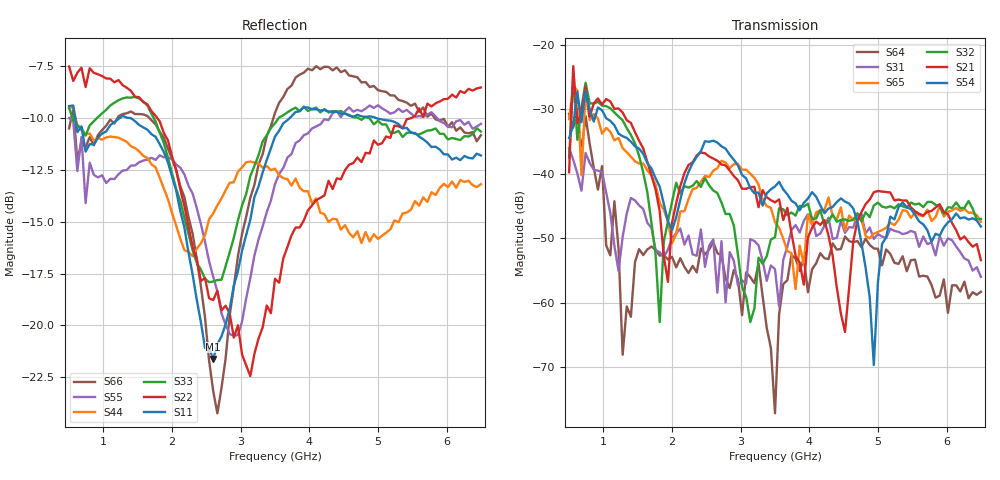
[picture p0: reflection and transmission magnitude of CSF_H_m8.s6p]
!Keysight Technologies,M9804A,MY58100912,A.14.10.03
!Date: Thursday, April 27, 2023 10:28:33
!Correction: S11(C  6-Port  )
!S12(C  6-Port  )
!S13(C  6-Port  )
!S14(C  6-Port  )
!S15(C  6-Port  )
!S16(C  6-Port  )
!S21(C  6-Port  )
!S22(C  6-Port  )
!S23(C  6-Port  )
!S24(C  6-Port  )
!S25(C  6-Port  )
!S26(C  6-Port  )
!S31(C  6-Port  )
!S32(C  6-Port  )
!S33(C  6-Port  )
!S34(C  6-Port  )
!S35(C  6-Port  )
!S36(C  6-Port  )
!S41(C  6-Port  )
!S42(C  6-Port  )
!S43(C  6-Port  )
!S44(C  6-Port  )
!S45(C  6-Port  )
!S46(C  6-Port  )
!S51(C  6-Port  )
!S52(C  6-Port  )
!S53(C  6-Port  )
!S54(C  6-Port  )
!S55(C  6-Port  )
!S56(C  6-Port  )
!S61(C  6-Port  )
!S62(C  6-Port  )
!S63(C  6-Port  )
!S64(C  6-Port  )
!S65(C  6-Port  )
!S66(C  6-Port  )
!S6P File: Measurement: :
# Hz S  RI  R 50
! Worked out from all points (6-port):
!   101 points, 500 MHz to 6.5 GHz, reference 50 ohm
!   strongest paths, dB at 500 MHz, 2 GHz, 3.5 GHz, 5 GHz, 6.5 GHz:
!     S54: -34.5, -48.7, -42.0, -56.8, -48.2
!     S21: -39.8, -47.6, -44.5, -42.7, -53.4
!     S32: -37.6, -44.4, -49.9, -44.5, -47.0
!     S65: -31.6, -50.8, -47.5, -49.0, -47.5
!     S31: -36.1, -50.0, -54.8, -49.4, -56.0
!     S64: -30.7, -52.9, -77.2, -51.7, -58.3
!   lowest |S11| = -21.6 dB at 2.6 GHz (marker M1), VSWR 1.18, Z = 42.6 + j2 ohm
!   |S11| at or under -10 dB: 588.1 MHz to 1.239 GHz (650.5 MHz wide, 71.2 % of centre); 1.383 GHz to 3.715 GHz (2.332 GHz wide, 91.5 % of centre); 4.971 GHz to end of sweep
